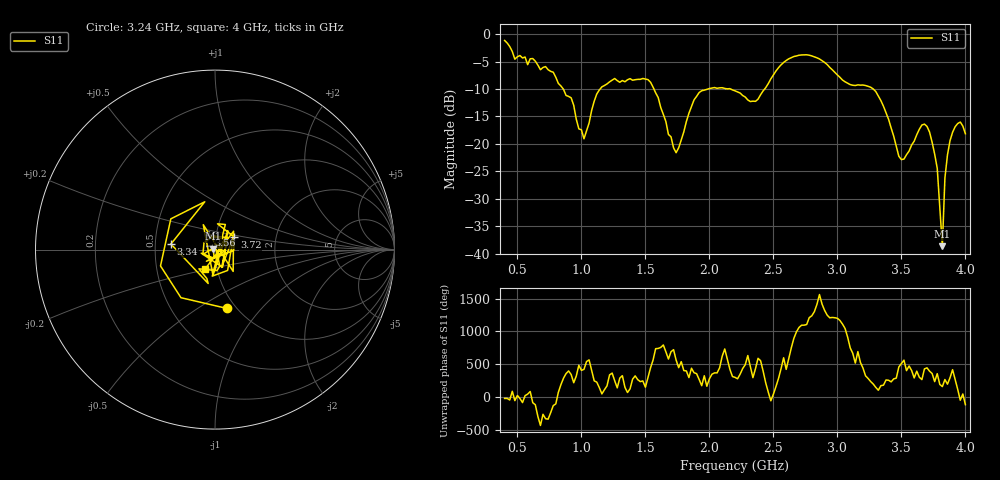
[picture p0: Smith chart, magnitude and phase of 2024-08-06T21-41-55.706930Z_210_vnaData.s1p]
!Created with skrf (http://scikit-rf.org).
# Hz S RI R 50.0
!freq ReS11 ImS11
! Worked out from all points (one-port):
!   181 points, 400 MHz to 4 GHz, reference 50 ohm
!   lowest |S11| = -38.7 dB at 3.82 GHz (marker M1), VSWR 1.02, Z = 48.9 + j0.433 ohm
!   |S11| at or under -10 dB: 858.7 MHz to 1.146 GHz (287.4 MHz wide, 28.7 % of centre); 1.567 GHz to 1.988 GHz (421.4 MHz wide, 23.7 % of centre); 3.281 GHz to end of sweep (the widest 3 of 4)
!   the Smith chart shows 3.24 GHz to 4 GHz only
!   S11 on the Smith chart (normalised r, x): 3.24 GHz: 0.91, -0.67; 3.34 GHz: 0.60, +0.04; 3.56 GHz: 0.93, +0.15; 3.72 GHz: 1.23, +0.17; 4 GHz: 0.87, -0.20
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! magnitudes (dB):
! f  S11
! 400 MHz  -1.1
! 480 MHz  -4.6
! 620 MHz  -4.4
! 860 MHz  -10.0
! 1.02 GHz  -19.1
! 1.12 GHz  -10.9
! 1.3 GHz  -8.8
! 1.54 GHz  -8.8
! 1.72 GHz  -20.7
! 1.76 GHz  -20.7
! 1.92 GHz  -10.6
! 2.2 GHz  -10.3
! 2.36 GHz  -12.2
! 2.66 GHz  -4.1
! 2.86 GHz  -4.5
! 3.1 GHz  -9.2
! 3.24 GHz  -9.5
! 3.34 GHz  -12.1
! 3.48 GHz  -22.3
! 3.56 GHz  -21.3
! 3.66 GHz  -16.6
! 3.72 GHz  -17.8
! 3.78 GHz  -24.4
! 3.82 GHz  -38.7
! 3.84 GHz  -26.2
! 3.88 GHz  -19.4
! 3.96 GHz  -16.0
! 4 GHz  -18.2
